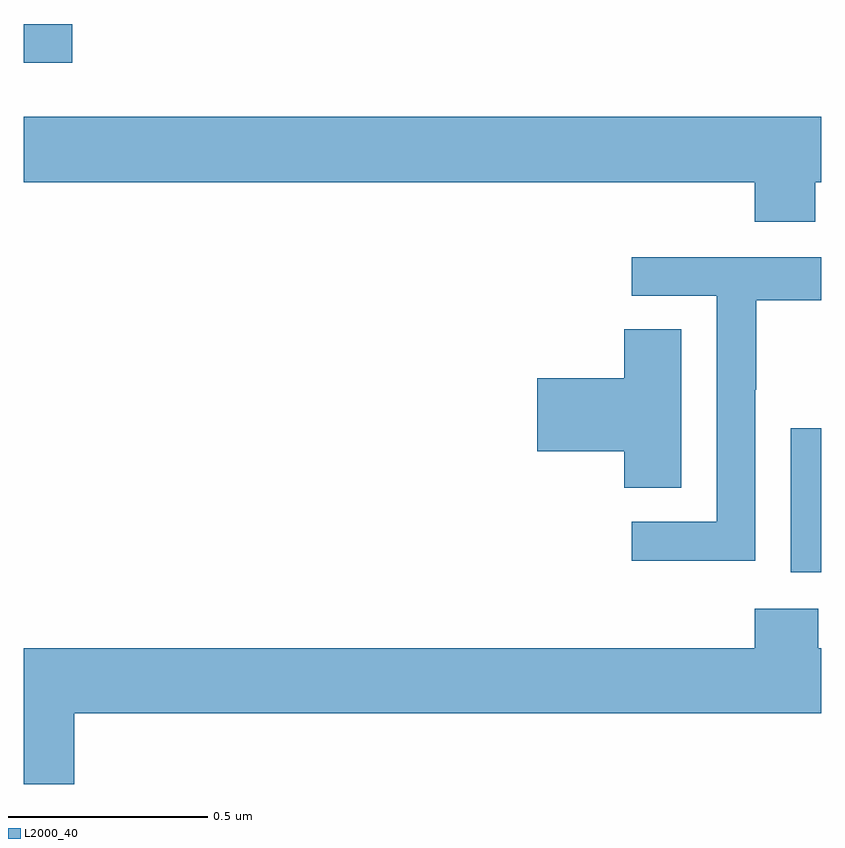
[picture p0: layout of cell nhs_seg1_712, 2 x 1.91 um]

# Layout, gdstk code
import gdstk
lib = gdstk.Library(unit=1e-6, precision=1e-09)
def R(c, l, rs):  # rectangles x0, y0, x1, y1
    for r in rs: c.add(gdstk.rectangle(r[:2], r[2:], *l))
def P(c, l, *ps):  # polygons
    for p in ps: c.add(gdstk.Polygon(p, *l))
L2000_40 = (2000, 40)

nhs_seg1_712 = lib.new_cell('nhs_seg1_712')
R(nhs_seg1_712, L2000_40, [(120.923,574.73,121,575.091), (119,576.008,119.122,576.105)])
P(nhs_seg1_712, L2000_40, [(120.985,575.708),(121,575.708),(121,575.872),(119,575.872),(119,575.708),(120.833,575.708),(120.833,575.609),(120.985,575.609)],
  [(120.834,575.188),(120.837,575.188),(120.837,575.412),(121,575.412),(121,575.52),(120.525,575.52),(120.525,575.424),(120.738,575.424),(120.738,574.857),(120.525,574.857),(120.525,574.759),(120.834,574.759)],
  [(120.649,575.339),(120.506,575.339),(120.506,575.216),(120.288,575.216),(120.288,575.033),(120.506,575.033),(120.506,574.942),(120.649,574.942)],
  [(119.126,574.376),(121,574.376),(121,574.54),(120.993,574.54),(120.993,574.639),(120.833,574.639),(120.833,574.54),(119,574.54),(119,574.199),(119.126,574.199)])

lib.write_gds('nhs_seg1_712.gds')
